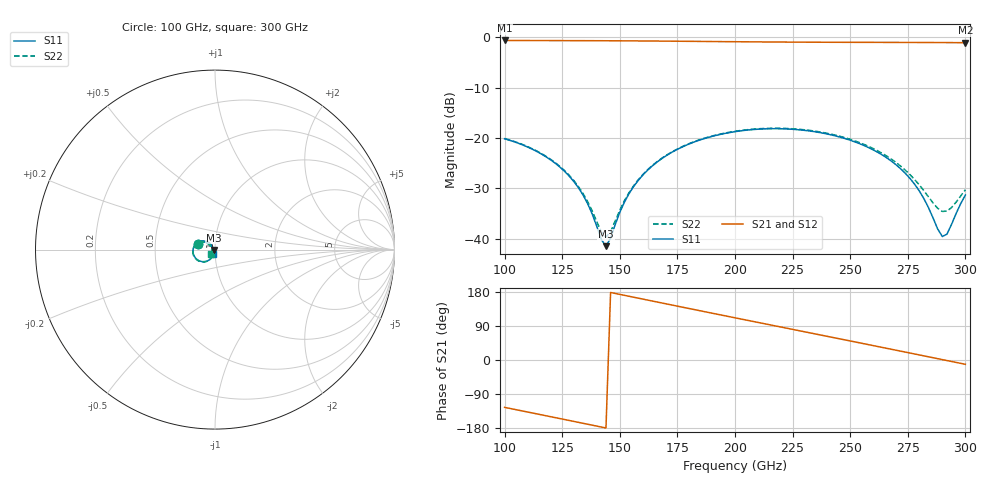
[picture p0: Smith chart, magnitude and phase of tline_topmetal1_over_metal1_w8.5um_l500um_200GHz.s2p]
#  GHZ S DB R 50
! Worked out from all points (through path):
!   101 points, 100 GHz to 300 GHz, reference 50 ohm
!   highest |S21| = -0.65 dB at 100 GHz (marker M1); lowest = -1.1 dB at 300 GHz (marker M2)
!   group delay of S21, straight-line fit = 3.42 ps
!   lowest |S11| = -41.5 dB at 144 GHz (marker M3), VSWR 1.02, Z = 49.2 - j0.176 ohm
!   |S11| at or under -10 dB: start of sweep to end of sweep
!   |S22| runs from -39.7 to -18.1 dB; largest |S21 - S12| = 1.5e-13
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100  -20.18 160.6  -0.65 -125.0  -0.65 -125.0  -20.12 162.4
120  -24.38 138.3  -0.68 -149.6  -0.68 -149.6  -24.27 141.1
128  -27.58 131.8  -0.69 -159.5  -0.69 -159.5  -27.41 135.4
134  -31.32 130.7  -0.69 -167.0  -0.69 -167.0  -31.02 135.5
138  -35.08 136.1  -0.70 -171.9  -0.70 -171.9  -34.49 142.3
142  -40.21 162.0  -0.71 -176.9  -0.71 -176.9  -38.71 167.5
144  -41.51 -167.7  -0.71 -179.4  -0.71 -179.4  -39.67 -167.7
146  -39.91 -138.6  -0.72 178.1  -0.72 178.1  -38.61 -143.2
150  -34.79 -114.8  -0.72 173.2  -0.72 173.2  -34.36 -118.7
154  -31.08 -109.9  -0.74 168.2  -0.74 168.2  -30.89 -112.1
160  -27.38 -111.2  -0.75 160.7  -0.75 160.7  -27.28 -112.0
168  -24.19 -117.5  -0.78 150.8  -0.78 150.8  -24.11 -117.4
182  -20.87 -132.2  -0.83 133.5  -0.83 133.5  -20.80 -131.2
200  -18.77 -152.5  -0.90 111.4  -0.90 111.4  -18.69 -150.7
216  -18.18 -170.9  -0.96 91.8  -0.96 91.8  -18.09 -168.4
234  -18.74 168.7  -1.00 69.8  -1.00 69.8  -18.62 172.2
252  -20.79 149.0  -1.02 47.8  -1.02 47.8  -20.60 154.0
268  -24.66 133.8  -1.04 28.2  -1.04 28.2  -24.26 141.7
280  -30.54 129.7  -1.05 13.4  -1.05 13.4  -29.35 143.1
290  -39.59 179.2  -1.07 1.0  -1.07 1.0  -34.61 -178.3
292  -39.12 -154.7  -1.07 -1.5  -1.07 -1.5  -34.55 -164.1
300  -31.35 -117.1  -1.09 -11.4  -1.09 -11.4  -30.30 -130.2
